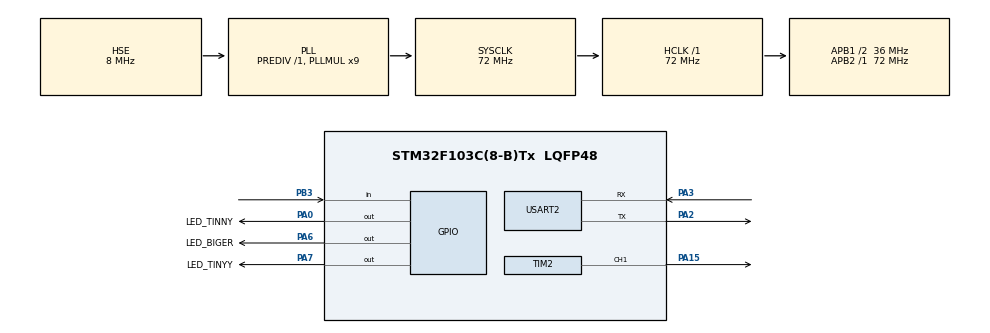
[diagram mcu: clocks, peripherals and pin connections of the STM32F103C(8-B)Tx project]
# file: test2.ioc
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Mcu.Family=STM32F1
Mcu.Name=STM32F103C(8-B)Tx
Mcu.Package=LQFP48
NVIC.PriorityGroup=NVIC_PRIORITYGROUP_4
PA0-WKUP.GPIO_Label=LED_TINNY
PA0-WKUP.Signal=GPIO_Output
PA13.Mode=Serial_Wire
PA13.Signal=SYS_JTMS-SWDIO
PA14.Mode=Serial_Wire
PA14.Signal=SYS_JTCK-SWCLK
PA15.Signal=S_TIM2_CH1_ETR
PA2.Mode=Asynchronous
PA2.Signal=USART2_TX
PA3.Mode=Asynchronous
PA3.Signal=USART2_RX
PA6.GPIO_Label=LED_BIGER
PA6.Signal=GPIO_Output
PA7.GPIO_Label=LED_TINYY
PA7.Signal=GPIO_Output
PB3.GPIO_PuPd=GPIO_NOPULL
PB3.Signal=GPIO_Input
PD0-OSC_IN.Mode=HSE-External-Oscillator
PD0-OSC_IN.Signal=RCC_OSC_IN
PD1-OSC_OUT.Mode=HSE-External-Oscillator
PD1-OSC_OUT.Signal=RCC_OSC_OUT
ProjectManager.HeapSize=0x200
ProjectManager.StackSize=0x400
ProjectManager.TargetToolchain=MDK-ARM V5.32
RCC.AHBFreq_Value=72000000
RCC.APB1CLKDivider=RCC_HCLK_DIV2
RCC.APB1Freq_Value=36000000
RCC.APB1TimFreq_Value=72000000
RCC.APB2Freq_Value=72000000
RCC.APB2TimFreq_Value=72000000
RCC.HCLKFreq_Value=72000000
RCC.PLLMUL=RCC_PLL_MUL9
RCC.PLLSourceVirtual=RCC_PLLSOURCE_HSE
RCC.SYSCLKFreq_VALUE=72000000
RCC.SYSCLKSource=RCC_SYSCLKSOURCE_PLLCLK
RCC.USBFreq_Value=72000000
SH.S_TIM2_CH1_ETR.0=TIM2_CH1,PWM Generation1 CH1
TIM2.AutoReloadPreload=TIM_AUTORELOAD_PRELOAD_ENABLE
TIM2.Channel-PWM\ Generation1\ CH1=TIM_CHANNEL_1
TIM2.Period=999
TIM2.Prescaler=71
USART2.VirtualMode=VM_ASYNC
VP_TIM2_VS_ClockSourceINT.Mode=Internal
board=custom

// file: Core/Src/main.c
/* USER CODE BEGIN Header */
/**
  ******************************************************************************
  * @file           : main.c
  * @brief          : Main program body
  ******************************************************************************
  * @attention
  *
  * Copyright (c) 2026 STMicroelectronics.
  * All rights reserved.
  *
  * This software is licensed under terms that can be found in the LICENSE file
  * in the root directory of this software component.
  * If no LICENSE file comes with this software, it is provided AS-IS.
  *
  ******************************************************************************
  */
/* USER CODE END Header */
#include "main.h"

/* USER CODE BEGIN Includes */
#include <string.h>
/* USER CODE END Includes */

TIM_HandleTypeDef htim2;

UART_HandleTypeDef huart2;

/* USER CODE BEGIN PV */
/* UART receive buffer: fixed 10 bytes, filled by interrupt */
uint8_t data[10];

/* Set to 1 by the RX callback (interrupt context), cleared by main loop */
volatile uint8_t frame_ready = 0;

/* Breathing LED state */
int16_t  comparison = 0;          /* current CCR value            */
int16_t  step       = 4;         /* +10 brighten, -10 dim       */
uint32_t t_led      = 0;          /* timestamp of last LED step  */

/* Key debounce */
GPIO_PinState key_raw    = GPIO_PIN_RESET;
GPIO_PinState key_stable = GPIO_PIN_RESET;
uint32_t      t_key      = 0;

/* Reply sent back to PC after a command is accepted */
uint8_t back[2] = {'o', 'k'};
/* USER CODE END PV */

void SystemClock_Config(void);
static void MX_GPIO_Init(void);
static void MX_USART2_UART_Init(void);
static void MX_TIM2_Init(void);

int main(void)
{

  /* MCU Configuration--------------------------------------------------------*/

  /* Reset of all peripherals, Initializes the Flash interface and the Systick. */
  HAL_Init();

  /* Configure the system clock */
  SystemClock_Config();

  /* Initialize all configured peripherals */
  MX_GPIO_Init();
  MX_USART2_UART_Init();
  MX_TIM2_Init();
  /* USER CODE BEGIN 2 */
  /* Start PWM on PA15 (TIM2_CH1) */
  HAL_TIM_PWM_Start(&htim2, TIM_CHANNEL_1);

  /* Enable USART2 interrupt in NVIC.
     HAL_UART_MspInit() does NOT do this in this project, and without it
     the RX interrupt is masked by the CPU, so the callback never fires. */
  HAL_NVIC_SetPriority(USART2_IRQn, 0, 0);
  HAL_NVIC_EnableIRQ(USART2_IRQn);

  /* Arm the interrupt reception: returns immediately */
  __HAL_UART_CLEAR_OREFLAG(&huart2);
  HAL_UART_Receive_IT(&huart2, data, 10);
  /* USER CODE END 2 */

  /* Infinite loop */
  while (1)
  {

    /* USER CODE BEGIN 3 */
    /* All declarations must stay at the top of the block (C90 / Keil default) */
    uint32_t      now   = HAL_GetTick();
    GPIO_PinState light = GPIO_PIN_SET;
    GPIO_PinState raw   = GPIO_PIN_RESET;

    /* ---------------- Task 1: UART command (non-blocking) ---------------- */
    if (frame_ready)
    {
      frame_ready = 0;

      /* 1st char '0' -> LED off, anything else -> LED on */
      light = (data[0] == '0') ? GPIO_PIN_RESET : GPIO_PIN_SET;

      if (strncmp((const char *)&data[1], "LED BIGER", 9) == 0)
      {
        HAL_GPIO_WritePin(LED_BIGER_GPIO_Port, LED_BIGER_Pin, light);
        HAL_UART_Transmit(&huart2, back, 2, 10);
      }
      else if (strncmp((const char *)&data[1], "LED TINNY", 9) == 0)
      {
        HAL_GPIO_WritePin(LED_TINNY_GPIO_Port, LED_TINNY_Pin, light);
        HAL_UART_Transmit(&huart2, back, 2, 10);
      }
      else
      {
        /* Unknown command: answer so you can see it was received */
        HAL_UART_Transmit(&huart2, (uint8_t *)"ERR\n", 4, 10);
      }

      /* Clean the buffer and arm reception again (MUST be called every frame) */
      memset(data, 0, sizeof(data));
      HAL_UART_Receive_IT(&huart2, data, 10);
    }

    /* ---------------- Task 2: key debounce, every 5 ms ------------------- */
    if (now - t_led >= 5)
    {
      t_led = now;

      /* Debounce: accept the raw level only after it is stable for 20 ms */
      raw = HAL_GPIO_ReadPin(GPIOB, GPIO_PIN_3);
      if (raw != key_raw)
      {
        key_raw = raw;
        t_key   = now;
      }
      else if ((now - t_key) >= 20)
      {
        key_stable = key_raw;
      }

      /* ---------------- Task 3: breathing LED --------------------------- */
      if (key_stable == GPIO_PIN_SET)
      {
        comparison += step;

        if (comparison >= 200)
        {
          comparison = 200;
          step = -4;
        }
        else if (comparison <= 0)
        {
          comparison = 0;
          step = 4;
        }
      }
      else
      {
        comparison = 0;
      }

      __HAL_TIM_SET_COMPARE(&htim2, TIM_CHANNEL_1, comparison);
    }
  }
  /* USER CODE END 3 */
}

void SystemClock_Config(void)
{
  RCC_OscInitTypeDef RCC_OscInitStruct = {0};
  RCC_ClkInitTypeDef RCC_ClkInitStruct = {0};

  /** Initializes the RCC Oscillators according to the specified parameters
  * in the RCC_OscInitTypeDef structure.
  */
  RCC_OscInitStruct.OscillatorType = RCC_OSCILLATORTYPE_HSE;
  RCC_OscInitStruct.HSEState = RCC_HSE_ON;
  RCC_OscInitStruct.HSEPredivValue = RCC_HSE_PREDIV_DIV1;
  RCC_OscInitStruct.HSIState = RCC_HSI_ON;
  RCC_OscInitStruct.PLL.PLLState = RCC_PLL_ON;
  RCC_OscInitStruct.PLL.PLLSource = RCC_PLLSOURCE_HSE;
  RCC_OscInitStruct.PLL.PLLMUL = RCC_PLL_MUL9;
  if (HAL_RCC_OscConfig(&RCC_OscInitStruct) != HAL_OK)
  {
    Error_Handler();
  }

  /** Initializes the CPU, AHB and APB buses clocks
  */
  RCC_ClkInitStruct.ClockType = RCC_CLOCKTYPE_HCLK|RCC_CLOCKTYPE_SYSCLK
                              |RCC_CLOCKTYPE_PCLK1|RCC_CLOCKTYPE_PCLK2;
  RCC_ClkInitStruct.SYSCLKSource = RCC_SYSCLKSOURCE_PLLCLK;
  RCC_ClkInitStruct.AHBCLKDivider = RCC_SYSCLK_DIV1;
  RCC_ClkInitStruct.APB1CLKDivider = RCC_HCLK_DIV2;
  RCC_ClkInitStruct.APB2CLKDivider = RCC_HCLK_DIV1;

  if (HAL_RCC_ClockConfig(&RCC_ClkInitStruct, FLASH_LATENCY_2) != HAL_OK)
  {
    Error_Handler();
  }
}

static void MX_TIM2_Init(void)
{

  TIM_ClockConfigTypeDef sClockSourceConfig = {0};
  TIM_MasterConfigTypeDef sMasterConfig = {0};
  TIM_OC_InitTypeDef sConfigOC = {0};

  htim2.Instance = TIM2;
  htim2.Init.Prescaler = 71;
  htim2.Init.CounterMode = TIM_COUNTERMODE_UP;
  htim2.Init.Period = 999;
  htim2.Init.ClockDivision = TIM_CLOCKDIVISION_DIV1;
  htim2.Init.AutoReloadPreload = TIM_AUTORELOAD_PRELOAD_ENABLE;
  if (HAL_TIM_Base_Init(&htim2) != HAL_OK)
  {
    Error_Handler();
  }
  sClockSourceConfig.ClockSource = TIM_CLOCKSOURCE_INTERNAL;
  if (HAL_TIM_ConfigClockSource(&htim2, &sClockSourceConfig) != HAL_OK)
  {
    Error_Handler();
  }
  if (HAL_TIM_PWM_Init(&htim2) != HAL_OK)
  {
    Error_Handler();
  }
  sMasterConfig.MasterOutputTrigger = TIM_TRGO_RESET;
  sMasterConfig.MasterSlaveMode = TIM_MASTERSLAVEMODE_DISABLE;
  if (HAL_TIMEx_MasterConfigSynchronization(&htim2, &sMasterConfig) != HAL_OK)
  {
    Error_Handler();
  }
  sConfigOC.OCMode = TIM_OCMODE_PWM1;
  sConfigOC.Pulse = 0;
  sConfigOC.OCPolarity = TIM_OCPOLARITY_HIGH;
  sConfigOC.OCFastMode = TIM_OCFAST_DISABLE;
  if (HAL_TIM_PWM_ConfigChannel(&htim2, &sConfigOC, TIM_CHANNEL_1) != HAL_OK)
  {
    Error_Handler();
  }
  HAL_TIM_MspPostInit(&htim2);

}

static void MX_USART2_UART_Init(void)
{

  huart2.Instance = USART2;
  huart2.Init.BaudRate = 115200;
  huart2.Init.WordLength = UART_WORDLENGTH_8B;
  huart2.Init.StopBits = UART_STOPBITS_1;
  huart2.Init.Parity = UART_PARITY_NONE;
  huart2.Init.Mode = UART_MODE_TX_RX;
  huart2.Init.HwFlowCtl = UART_HWCONTROL_NONE;
  huart2.Init.OverSampling = UART_OVERSAMPLING_16;
  if (HAL_UART_Init(&huart2) != HAL_OK)
  {
    Error_Handler();
  }

}

static void MX_GPIO_Init(void)
{
  GPIO_InitTypeDef GPIO_InitStruct = {0};

  /* GPIO Ports Clock Enable */
  __HAL_RCC_GPIOD_CLK_ENABLE();
  __HAL_RCC_GPIOA_CLK_ENABLE();
  __HAL_RCC_GPIOB_CLK_ENABLE();

  /*Configure GPIO pin Output Level */
  HAL_GPIO_WritePin(GPIOA, LED_TINNY_Pin|LED_BIGER_Pin, GPIO_PIN_RESET);

  /*Configure GPIO pins : LED_TINNY_Pin LED_BIGER_Pin */
  GPIO_InitStruct.Pin = LED_TINNY_Pin|LED_BIGER_Pin;
  GPIO_InitStruct.Mode = GPIO_MODE_OUTPUT_PP;
  GPIO_InitStruct.Pull = GPIO_NOPULL;
  GPIO_InitStruct.Speed = GPIO_SPEED_FREQ_LOW;
  HAL_GPIO_Init(GPIOA, &GPIO_InitStruct);

  /*Configure GPIO pin : PB3 */
  GPIO_InitStruct.Pin = GPIO_PIN_3;
  GPIO_InitStruct.Mode = GPIO_MODE_INPUT;
  GPIO_InitStruct.Pull = GPIO_NOPULL;
  HAL_GPIO_Init(GPIOB, &GPIO_InitStruct);

}

/* USER CODE BEGIN 4 */
/**
  * @brief  Called by HAL when 10 bytes have been received.
  *         Runs in interrupt context -- keep it short.
  */
void HAL_UART_RxCpltCallback(UART_HandleTypeDef *huart)
{
  if (huart->Instance == USART2)
  {
    frame_ready = 1;
  }
}

/**
  * @brief  Called by HAL on reception error (overrun, framing...).
  *         Re-arms reception so the port cannot stay dead.
  */
void HAL_UART_ErrorCallback(UART_HandleTypeDef *huart)
{
  if (huart->Instance == USART2)
  {
    __HAL_UART_CLEAR_OREFLAG(huart);
    huart->ErrorCode = HAL_UART_ERROR_NONE;
    huart->RxState   = HAL_UART_STATE_READY;

    memset(data, 0, sizeof(data));
    HAL_UART_Receive_IT(&huart2, data, 10);
  }
}

/**
  * @brief  USART2 interrupt entry.
  *         Not generated in stm32f1xx_it.c for this project, so it is
  *         defined here. Do not add it to stm32f1xx_it.c as well.
  */
void USART2_IRQHandler(void)
{
  HAL_UART_IRQHandler(&huart2);
}
/* USER CODE END 4 */

void Error_Handler(void)
{
  __disable_irq();
  while (1)
  {
  }
}
